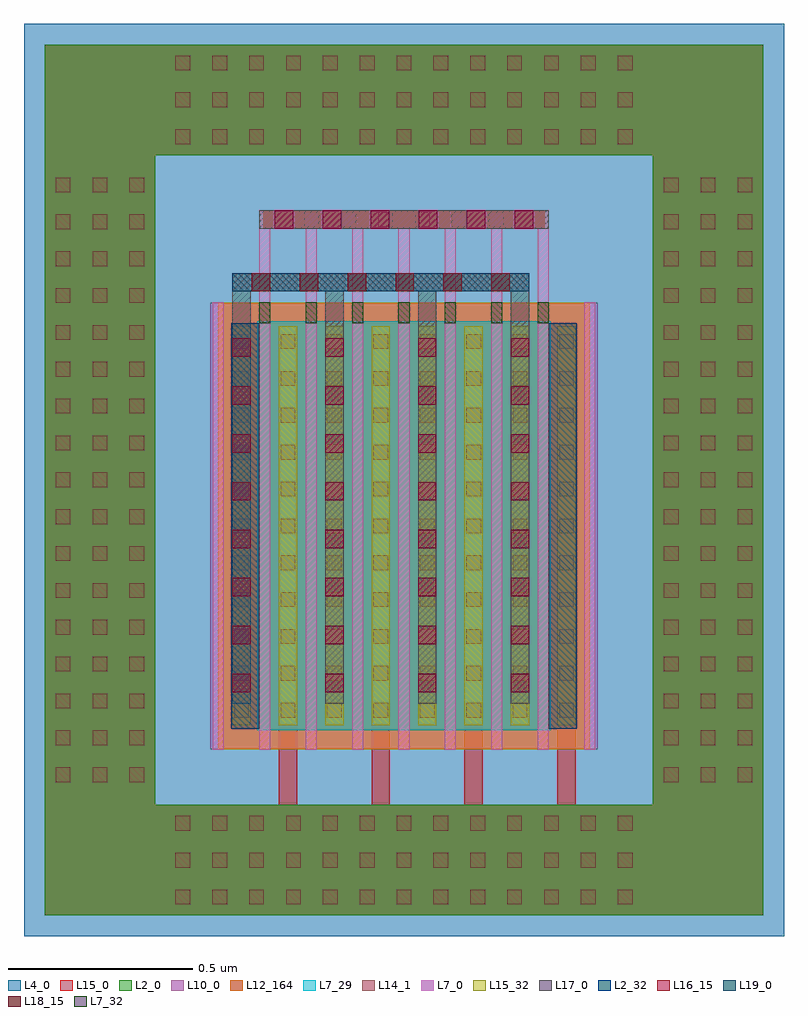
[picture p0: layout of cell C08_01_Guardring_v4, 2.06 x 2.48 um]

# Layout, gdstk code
import gdstk
lib = gdstk.Library(unit=1e-6, precision=1e-09)
def R(c, l, rs):  # rectangles x0, y0, x1, y1
    for r in rs: c.add(gdstk.rectangle(r[:2], r[2:], *l))
def A(c, l, x, y, w, h, nx, ny, dx, dy):  # array of equal rectangles
    R(c, l, [(x+i*dx, y+j*dy, x+i*dx+w, y+j*dy+h) for i in range(nx) for j in range(ny)])
L2_0 = (2, 0)
L2_32 = (2, 32)
L4_0 = (4, 0)
L7_0 = (7, 0)
L7_29 = (7, 29)
L7_32 = (7, 32)
L10_0 = (10, 0)
L12_164 = (12, 164)
L14_1 = (14, 1)
L15_0 = (15, 0)
L15_32 = (15, 32)
L16_15 = (16, 15)
L17_0 = (17, 0)
L18_15 = (18, 15)
L19_0 = (19, 0)

c08_01_guardring_v4_srf_ = lib.new_cell('C08_01_Guardring_v4:SRF_Tr11:SRF_Pmos:SRF_Source_ViaM1M2:SRF_ViaM1M2')
R(c08_01_guardring_v4_srf_, L15_0, [(0,-0.942,0.05,0.082)])
A(c08_01_guardring_v4_srf_, L16_15, 0, -0.91, 0.05, 0.05, 1, 8, 0, 0.13)
R(c08_01_guardring_v4_srf_, L17_0, [(0,-0.942,0.05,0.082)])

c_c08_01_guardring_v4_srf_ = lib.new_cell('C08_01_Guardring_v4:SRF_Tr11:SRF_Pmos:SRF_Source_ViaM1M2')
c_c08_01_guardring_v4_srf_.add(gdstk.Reference(c08_01_guardring_v4_srf_, (-0.025,0.43)))

c_c08_01_guardring_v4_srf__ = lib.new_cell('C08_01_Guardring_v4:SRF_Tr11:SRF_Pmos:SRF_Gate_ViaM0Mx:SRF_ViaM0M1')
R(c_c08_01_guardring_v4_srf__, L7_0, [(-0.01,-0.004,0.55,0.044)])
A(c_c08_01_guardring_v4_srf__, L14_1, 0, 0, 0.04, 0.04, 6, 1, 0.1, 0)
R(c_c08_01_guardring_v4_srf__, L15_0, [(-0.021,-0.005,0.561,0.045)])

c_c08_01_guardring_v4_srf___ = lib.new_cell('C08_01_Guardring_v4:SRF_Tr11:SRF_Pmos:SRF_Gate_ViaM0Mx:SRF_ViaM1M2')
R(c_c08_01_guardring_v4_srf___, L15_0, [(-0.032,0,0.732,0.05)])
A(c_c08_01_guardring_v4_srf___, L16_15, 0, 0, 0.05, 0.05, 6, 1, 0.13, 0)
R(c_c08_01_guardring_v4_srf___, L17_0, [(-0.032,0,0.732,0.05)])

c_c08_01_guardring_v4_srf____ = lib.new_cell('C08_01_Guardring_v4:SRF_Tr11:SRF_Pmos:SRF_Gate_ViaM0Mx')
c_c08_01_guardring_v4_srf____.add(gdstk.Reference(c_c08_01_guardring_v4_srf__, (-0.27,-0.02)))
c_c08_01_guardring_v4_srf____.add(gdstk.Reference(c_c08_01_guardring_v4_srf___, (-0.35,-0.025)))

c_c08_01_guardring_v4_srf_____ = lib.new_cell('C08_01_Guardring_v4:SRF_Tr11:SRF_Pmos')
R(c_c08_01_guardring_v4_srf_____, L2_0, [(-0.076,0.057,0.862,1.157)])
R(c_c08_01_guardring_v4_srf_____, L2_32, [(-0.076,0.057,0,1.157), (0.786,0.057,0.862,1.157)])
A(c_c08_01_guardring_v4_srf_____, L7_0, -0.126, 0, 0.03, 1.214, 9, 1, 0.126, 0)
A(c_c08_01_guardring_v4_srf_____, L7_0, 0, 1.214, 0.03, 0.2, 7, 1, 0.126, 0)
R(c_c08_01_guardring_v4_srf_____, L7_0, [(0,1.414,0.786,1.462)])
R(c_c08_01_guardring_v4_srf_____, L7_29, [(-0.005,0.052,0.791,1.162)])
A(c_c08_01_guardring_v4_srf_____, L7_32, 0, 1.157, 0.03, 0.057, 7, 1, 0.126, 0)
R(c_c08_01_guardring_v4_srf_____, L10_0, [(-0.132,0.001,0.918,1.213)])
R(c_c08_01_guardring_v4_srf_____, L12_164, [(-0.111,0.001,0.897,1.213)])
A(c_c08_01_guardring_v4_srf_____, L14_1, -0.068, 0.087, 0.04, 0.04, 8, 11, 0.126, 0.1)
R(c_c08_01_guardring_v4_srf_____, L15_0, [(-0.073,0.066,-0.023,1.148), (-0.073,0.066,-0.023,1.148), (0.053,0.066,0.103,1.148), (0.053,0.066,0.103,1.148), (0.179,0.066,0.229,1.148), (0.179,0.066,0.229,1.148), (0.305,0.066,0.355,1.148), (0.305,0.066,0.355,1.148), (0.431,0.066,0.481,1.148), (0.431,0.066,0.481,1.148), (0.557,0.066,0.607,1.148), (0.557,0.066,0.607,1.148), (0.683,0.066,0.733,1.148), (0.683,0.066,0.733,1.148), (0.809,0.066,0.859,1.148), (0.809,0.066,0.859,1.148)])
A(c_c08_01_guardring_v4_srf_____, L15_32, -0.073, 0.066, 0.05, 1.082, 8, 1, 0.126, 0)
A(c_c08_01_guardring_v4_srf_____, L17_0, -0.073, 1.148, 0.05, 0.095, 4, 1, 0.252, 0)
R(c_c08_01_guardring_v4_srf_____, L17_0, [(-0.073,1.243,0.733,1.293), (0,1.413,0.786,1.463)])
c_c08_01_guardring_v4_srf_____.add(gdstk.Reference(c_c08_01_guardring_v4_srf_, (-0.048,0.636)))
c_c08_01_guardring_v4_srf_____.add(gdstk.Reference(c_c08_01_guardring_v4_srf_, (0.204,0.636)))
c_c08_01_guardring_v4_srf_____.add(gdstk.Reference(c_c08_01_guardring_v4_srf_, (0.456,0.636)))
c_c08_01_guardring_v4_srf_____.add(gdstk.Reference(c_c08_01_guardring_v4_srf_, (0.708,0.636)))
c_c08_01_guardring_v4_srf_____.add(gdstk.Reference(c_c08_01_guardring_v4_srf____, (0.393,1.438)))

c_c08_01_guardring_v4_srf______ = lib.new_cell('C08_01_Guardring_v4:SRF_Tr11:SRF_Source_ViaM2M3:SRF_ViaM2M3')
R(c_c08_01_guardring_v4_srf______, L17_0, [(-0.032,0,0.732,0.05)])
A(c_c08_01_guardring_v4_srf______, L18_15, 0, 0, 0.05, 0.05, 6, 1, 0.13, 0)
R(c_c08_01_guardring_v4_srf______, L19_0, [(-0.032,0,0.732,0.05)])

c_c08_01_guardring_v4_srf_______ = lib.new_cell('C08_01_Guardring_v4:SRF_Tr11:SRF_Source_ViaM2M3')
c_c08_01_guardring_v4_srf_______.add(gdstk.Reference(c_c08_01_guardring_v4_srf______, (-0.35,-0.025)))

c_c08_01_guardring_v4_srf________ = lib.new_cell('C08_01_Guardring_v4:SRF_Tr11')
R(c_c08_01_guardring_v4_srf________, L19_0, [(-0.073,1.243,0.733,1.293)])
c_c08_01_guardring_v4_srf________.add(gdstk.Reference(c_c08_01_guardring_v4_srf_____, (0,0)))
c_c08_01_guardring_v4_srf________.add(gdstk.Reference(c_c08_01_guardring_v4_srf_______, (0.33,1.268)))

c08_01_guardring_v4__nbo = lib.new_cell('C08_01_Guardring_v4:_Nbodyring:SRF_NbodyTop:SRF_NbodyContactPhyLen')
R(c08_01_guardring_v4__nbo, L2_0, [(-0.055,-0.23,1.295,0.07)])
R(c08_01_guardring_v4__nbo, L4_0, [(-0.111,-0.286,1.351,0.126)])
A(c08_01_guardring_v4__nbo, L14_1, 0, -0.2, 0.04, 0.04, 13, 3, 0.1, 0.1)
R(c08_01_guardring_v4__nbo, L15_0, [(-0.055,-0.23,1.295,0.07)])

c_c08_01_guardring_v4__nbo = lib.new_cell('C08_01_Guardring_v4:_Nbodyring:SRF_NbodyTop')
c_c08_01_guardring_v4__nbo.add(gdstk.Reference(c08_01_guardring_v4__nbo, (0,0)))

c_c08_01_guardring_v4__nbo_ = lib.new_cell('C08_01_Guardring_v4:_Nbodyring:SRF_NbodyBottom:SRF_NbodyContactPhyLen')
R(c_c08_01_guardring_v4__nbo_, L2_0, [(-0.055,-0.23,1.295,0.07)])
R(c_c08_01_guardring_v4__nbo_, L4_0, [(-0.111,-0.286,1.351,0.126)])
A(c_c08_01_guardring_v4__nbo_, L14_1, 0, -0.2, 0.04, 0.04, 13, 3, 0.1, 0.1)
R(c_c08_01_guardring_v4__nbo_, L15_0, [(-0.055,-0.23,1.295,0.07)])

c_c08_01_guardring_v4__nbo__ = lib.new_cell('C08_01_Guardring_v4:_Nbodyring:SRF_NbodyBottom')
c_c08_01_guardring_v4__nbo__.add(gdstk.Reference(c_c08_01_guardring_v4__nbo_, (0,0)))

c_c08_01_guardring_v4__nbo___ = lib.new_cell('C08_01_Guardring_v4:_Nbodyring:SRF_NbodyLeft:SRF_NbodyContactPhyLen')
R(c_c08_01_guardring_v4__nbo___, L2_0, [(-0.03,-1.662,0.27,0.101)])
R(c_c08_01_guardring_v4__nbo___, L4_0, [(-0.086,-1.718,0.326,0.157)])
A(c_c08_01_guardring_v4__nbo___, L14_1, 0, -1.6, 0.04, 0.04, 3, 17, 0.1, 0.1)
R(c_c08_01_guardring_v4__nbo___, L15_0, [(-0.03,-1.662,0.27,0.101)])

c_c08_01_guardring_v4__nbo____ = lib.new_cell('C08_01_Guardring_v4:_Nbodyring:SRF_NbodyLeft')
c_c08_01_guardring_v4__nbo____.add(gdstk.Reference(c_c08_01_guardring_v4__nbo___, (0,0)))

c_c08_01_guardring_v4__nbo_____ = lib.new_cell('C08_01_Guardring_v4:_Nbodyring:SRF_NbodyRight:SRF_NbodyContactPhyLen')
R(c_c08_01_guardring_v4__nbo_____, L2_0, [(-0.03,-1.662,0.27,0.101)])
R(c_c08_01_guardring_v4__nbo_____, L4_0, [(-0.086,-1.718,0.326,0.157)])
A(c_c08_01_guardring_v4__nbo_____, L14_1, 0, -1.6, 0.04, 0.04, 3, 17, 0.1, 0.1)
R(c_c08_01_guardring_v4__nbo_____, L15_0, [(-0.03,-1.662,0.27,0.101)])

c_c08_01_guardring_v4__nbo______ = lib.new_cell('C08_01_Guardring_v4:_Nbodyring:SRF_NbodyRight')
c_c08_01_guardring_v4__nbo______.add(gdstk.Reference(c_c08_01_guardring_v4__nbo_____, (0,0)))

c_c08_01_guardring_v4__nbo_______ = lib.new_cell('C08_01_Guardring_v4:_Nbodyring')
R(c_c08_01_guardring_v4__nbo_______, L2_0, [(-0.355,-2.293,1.595,-1.993), (-0.355,-2.293,-0.055,0.07), (1.295,-2.293,1.595,0.07), (-0.355,-0.23,1.595,0.07)])
R(c_c08_01_guardring_v4__nbo_______, L4_0, [(-0.411,-2.349,1.651,-1.937), (-0.411,-2.349,0.001,0.126), (1.239,-2.349,1.651,0.126), (-0.411,-0.286,1.651,0.126)])
R(c_c08_01_guardring_v4__nbo_______, L15_0, [(-0.355,-2.293,1.595,-1.993), (-0.355,-2.293,-0.055,0.07), (1.295,-2.293,1.595,0.07), (-0.355,-0.23,1.595,0.07)])
c_c08_01_guardring_v4__nbo_______.add(gdstk.Reference(c_c08_01_guardring_v4__nbo, (0,0)))
c_c08_01_guardring_v4__nbo_______.add(gdstk.Reference(c_c08_01_guardring_v4__nbo__, (0,-2.063)))
c_c08_01_guardring_v4__nbo_______.add(gdstk.Reference(c_c08_01_guardring_v4__nbo____, (-0.325,-0.331)))
c_c08_01_guardring_v4__nbo_______.add(gdstk.Reference(c_c08_01_guardring_v4__nbo______, (1.325,-0.331)))

c08_01_guardring_v4 = lib.new_cell('C08_01_Guardring_v4')
R(c08_01_guardring_v4, L4_0, [(-0.638,-0.506,1.424,1.969)])
A(c08_01_guardring_v4, L15_0, 0.053, -0.15, 0.05, 0.216, 4, 1, 0.252, 0)
c08_01_guardring_v4.add(gdstk.Reference(c_c08_01_guardring_v4_srf________, (0,0)))
c08_01_guardring_v4.add(gdstk.Reference(c_c08_01_guardring_v4__nbo_______, (-0.227,1.843)))

lib.write_gds('C08_01_Guardring_v4.gds')
